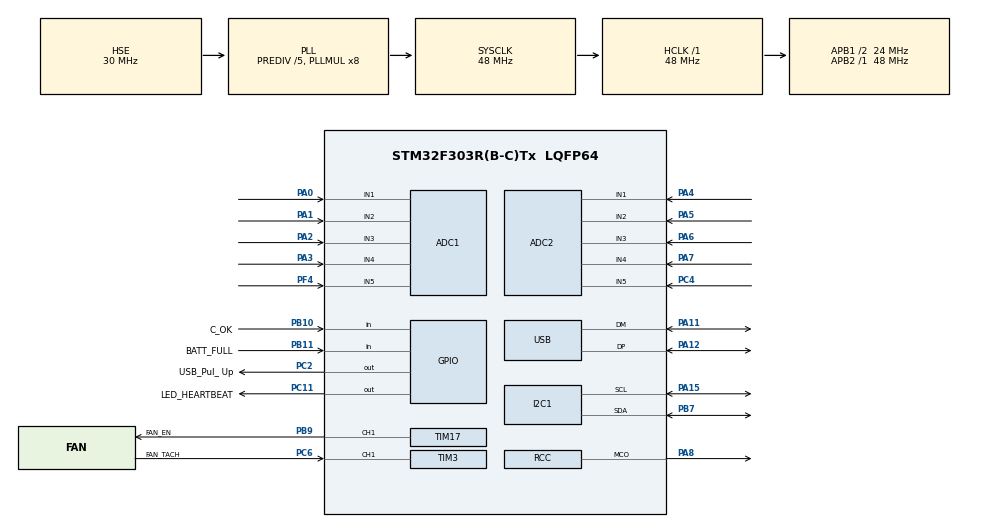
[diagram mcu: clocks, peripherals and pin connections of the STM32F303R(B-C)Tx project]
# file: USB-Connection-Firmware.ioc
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ADC1.Channel-0\#ChannelRegularConversion=ADC_CHANNEL_1
ADC1.Channel-5\#ChannelRegularConversion=ADC_CHANNEL_2
ADC1.Channel-6\#ChannelRegularConversion=ADC_CHANNEL_3
ADC1.Channel-7\#ChannelRegularConversion=ADC_CHANNEL_4
ADC1.Channel-8\#ChannelRegularConversion=ADC_CHANNEL_5
ADC1.ContinuousConvMode=ENABLE
ADC1.NbrOfConversion=5
ADC1.NbrOfConversionFlag=1
ADC1.Offset-0\#ChannelRegularConversion=0
ADC1.Offset-5\#ChannelRegularConversion=0
ADC1.Offset-6\#ChannelRegularConversion=0
ADC1.Offset-7\#ChannelRegularConversion=0
ADC1.Offset-8\#ChannelRegularConversion=0
ADC1.OffsetNumber-0\#ChannelRegularConversion=ADC_OFFSET_NONE
ADC1.OffsetNumber-5\#ChannelRegularConversion=ADC_OFFSET_NONE
ADC1.OffsetNumber-6\#ChannelRegularConversion=ADC_OFFSET_NONE
ADC1.OffsetNumber-7\#ChannelRegularConversion=ADC_OFFSET_NONE
ADC1.OffsetNumber-8\#ChannelRegularConversion=ADC_OFFSET_NONE
ADC1.Rank-0\#ChannelRegularConversion=1
ADC1.Rank-5\#ChannelRegularConversion=2
ADC1.Rank-6\#ChannelRegularConversion=3
ADC1.Rank-7\#ChannelRegularConversion=4
ADC1.Rank-8\#ChannelRegularConversion=5
ADC1.SamplingTime-0\#ChannelRegularConversion=ADC_SAMPLETIME_1CYCLE_5
ADC1.SamplingTime-5\#ChannelRegularConversion=ADC_SAMPLETIME_1CYCLE_5
ADC1.SamplingTime-6\#ChannelRegularConversion=ADC_SAMPLETIME_1CYCLE_5
ADC1.SamplingTime-7\#ChannelRegularConversion=ADC_SAMPLETIME_1CYCLE_5
ADC1.SamplingTime-8\#ChannelRegularConversion=ADC_SAMPLETIME_1CYCLE_5
ADC1.SamplingTimeOPAMP-5\#ChannelRegularConversion=ADC_SAMPLETIME_19CYCLES_5
ADC1.SamplingTimeOPAMP-6\#ChannelRegularConversion=ADC_SAMPLETIME_19CYCLES_5
ADC1.SamplingTimeOPAMP-7\#ChannelRegularConversion=ADC_SAMPLETIME_19CYCLES_5
ADC1.SamplingTimeOPAMP-8\#ChannelRegularConversion=ADC_SAMPLETIME_19CYCLES_5
ADC1.master=1
ADC2.Channel-0\#ChannelRegularConversion=ADC_CHANNEL_1
ADC2.Channel-1\#ChannelRegularConversion=ADC_CHANNEL_2
ADC2.Channel-2\#ChannelRegularConversion=ADC_CHANNEL_3
ADC2.Channel-3\#ChannelRegularConversion=ADC_CHANNEL_4
ADC2.Channel-4\#ChannelRegularConversion=ADC_CHANNEL_5
ADC2.ContinuousConvMode=ENABLE
ADC2.NbrOfConversion=5
ADC2.NbrOfConversionFlag=1
ADC2.Offset-0\#ChannelRegularConversion=0
ADC2.Offset-1\#ChannelRegularConversion=0
ADC2.Offset-2\#ChannelRegularConversion=0
ADC2.Offset-3\#ChannelRegularConversion=0
ADC2.Offset-4\#ChannelRegularConversion=0
ADC2.OffsetNumber-0\#ChannelRegularConversion=ADC_OFFSET_NONE
ADC2.OffsetNumber-1\#ChannelRegularConversion=ADC_OFFSET_NONE
ADC2.OffsetNumber-2\#ChannelRegularConversion=ADC_OFFSET_NONE
ADC2.OffsetNumber-3\#ChannelRegularConversion=ADC_OFFSET_NONE
ADC2.OffsetNumber-4\#ChannelRegularConversion=ADC_OFFSET_NONE
ADC2.Rank-0\#ChannelRegularConversion=1
ADC2.Rank-1\#ChannelRegularConversion=2
ADC2.Rank-2\#ChannelRegularConversion=3
ADC2.Rank-3\#ChannelRegularConversion=4
ADC2.Rank-4\#ChannelRegularConversion=5
ADC2.SamplingTime-0\#ChannelRegularConversion=ADC_SAMPLETIME_1CYCLE_5
ADC2.SamplingTime-1\#ChannelRegularConversion=ADC_SAMPLETIME_1CYCLE_5
ADC2.SamplingTime-2\#ChannelRegularConversion=ADC_SAMPLETIME_1CYCLE_5
ADC2.SamplingTime-3\#ChannelRegularConversion=ADC_SAMPLETIME_1CYCLE_5
ADC2.SamplingTime-4\#ChannelRegularConversion=ADC_SAMPLETIME_1CYCLE_5
ADC2.SamplingTimeOPAMP-1\#ChannelRegularConversion=ADC_SAMPLETIME_19CYCLES_5
ADC2.SamplingTimeOPAMP-2\#ChannelRegularConversion=ADC_SAMPLETIME_19CYCLES_5
ADC2.SamplingTimeOPAMP-3\#ChannelRegularConversion=ADC_SAMPLETIME_19CYCLES_5
ADC2.SamplingTimeOPAMP-4\#ChannelRegularConversion=ADC_SAMPLETIME_19CYCLES_5
Dma.ADC1.0.Direction=DMA_PERIPH_TO_MEMORY
Dma.ADC1.0.Instance=DMA1_Channel1
Dma.ADC1.0.MemDataAlignment=DMA_MDATAALIGN_HALFWORD
Dma.ADC1.0.MemInc=DMA_MINC_ENABLE
Dma.ADC1.0.Mode=DMA_CIRCULAR
Dma.ADC1.0.PeriphDataAlignment=DMA_PDATAALIGN_HALFWORD
Dma.ADC1.0.PeriphInc=DMA_PINC_DISABLE
Dma.ADC1.0.Priority=DMA_PRIORITY_LOW
Dma.ADC2.1.Direction=DMA_PERIPH_TO_MEMORY
Dma.ADC2.1.Instance=DMA2_Channel1
Dma.ADC2.1.MemDataAlignment=DMA_MDATAALIGN_HALFWORD
Dma.ADC2.1.MemInc=DMA_MINC_ENABLE
Dma.ADC2.1.Mode=DMA_CIRCULAR
Dma.ADC2.1.PeriphDataAlignment=DMA_PDATAALIGN_HALFWORD
Dma.ADC2.1.PeriphInc=DMA_PINC_DISABLE
Dma.ADC2.1.Priority=DMA_PRIORITY_LOW
Dma.Request0=ADC1
Dma.Request1=ADC2
I2C1.Timing=0x00201D2B
Mcu.Family=STM32F3
Mcu.Name=STM32F303R(B-C)Tx
Mcu.Package=LQFP64
NVIC.DMA1_Channel1_IRQn=true\:0\:0\:false\:false\:true\:false\:true\:true
NVIC.DMA2_Channel1_IRQn=true\:0\:0\:false\:false\:true\:false\:true\:true
NVIC.PriorityGroup=NVIC_PRIORITYGROUP_4
NVIC.TIM3_IRQn=true\:0\:0\:false\:false\:true\:true\:true\:true
NVIC.USB_HP_CAN_TX_IRQn=true\:0\:0\:false\:false\:true\:true\:true\:true
NVIC.USB_LP_CAN_RX0_IRQn=true\:0\:0\:false\:false\:true\:false\:true\:true
PA0.Mode=IN1-Single-Ended
PA0.Signal=ADC1_IN1
PA1.Mode=IN2-Single-Ended
PA1.Signal=ADC1_IN2
PA11.Mode=Device
PA11.Signal=USB_DM
PA12.Mode=Device
PA12.Signal=USB_DP
PA13.Mode=Serial_Wire
PA13.Signal=SYS_JTMS-SWDIO
PA14.Mode=Serial_Wire
PA14.Signal=SYS_JTCK-SWCLK
PA15.Mode=I2C
PA15.Signal=I2C1_SCL
PA2.Mode=IN3-Single-Ended
PA2.Signal=ADC1_IN3
PA3.Mode=IN4-Single-Ended
PA3.Signal=ADC1_IN4
PA4.Mode=IN1-Single-Ended
PA4.Signal=ADC2_IN1
PA5.Mode=IN2-Single-Ended
PA5.Signal=ADC2_IN2
PA6.Mode=IN3-Single-Ended
PA6.Signal=ADC2_IN3
PA7.Mode=IN4-Single-Ended
PA7.Signal=ADC2_IN4
PA8.Mode=Clock-out
PA8.Signal=RCC_MCO
PB10.GPIO_Label=C_OK
PB10.GPIO_PuPd=GPIO_NOPULL
PB10.Signal=GPIO_Input
PB11.GPIO_Label=BATT_FULL
PB11.Signal=GPIO_Input
PB7.Mode=I2C
PB7.Signal=I2C1_SDA
PB9.GPIO_Label=FAN_EN
PB9.Signal=S_TIM17_CH1
PC11.GPIO_Label=LED_HEARTBEAT
PC11.Signal=GPIO_Output
PC2.GPIO_Label=USB_Pul_ Up
PC2.Signal=GPIO_Output
PC4.Mode=IN5-Single-Ended
PC4.Signal=ADC2_IN5
PC6.GPIO_Label=FAN_TACH
PC6.Signal=S_TIM3_CH1
PF0-OSC_IN.Mode=HSE-External-Oscillator
PF0-OSC_IN.Signal=RCC_OSC_IN
PF1-OSC_OUT.Mode=HSE-External-Oscillator
PF1-OSC_OUT.Signal=RCC_OSC_OUT
PF4.Mode=IN5-Single-Ended
PF4.Signal=ADC1_IN5
ProjectManager.HeapSize=0x800
ProjectManager.StackSize=0x400
ProjectManager.TargetToolchain=STM32CubeIDE
RCC.AHBFreq_Value=48000000
RCC.APB1CLKDivider=RCC_HCLK_DIV2
RCC.APB1Freq_Value=24000000
RCC.APB1TimFreq_Value=48000000
RCC.APB2Freq_Value=48000000
RCC.APB2TimFreq_Value=48000000
RCC.CortexFreq_Value=48000000
RCC.HCLKFreq_Value=48000000
RCC.HSE_VALUE=30000000
RCC.HSI_VALUE=8000000
RCC.LSE_VALUE=32768
RCC.PLLMUL=RCC_PLL_MUL8
RCC.RCC_MCOSource=RCC_MCO1SOURCE_HSE
RCC.RCC_PLLsource_Clock_Source_FROM_HSE=RCC_HSE_PREDIV_DIV5
RCC.SYSCLKFreq_VALUE=48000000
RCC.SYSCLKSourceVirtual=RCC_SYSCLKSOURCE_PLLCLK
RCC.USBFreq_Value=48000000
SH.S_TIM17_CH1.0=TIM17_CH1,PWM Generation1 CH1
SH.S_TIM3_CH1.0=TIM3_CH1,Input_Capture1_from_TI1
TIM17.AutoReloadPreload=TIM_AUTORELOAD_PRELOAD_ENABLE
TIM17.Channel=TIM_CHANNEL_1
TIM17.Period=999
TIM17.Prescaler=47
TIM3.Channel-Input_Capture1_from_TI1=TIM_CHANNEL_1
TIM3.ICFilter_CH1=0x0F
TIM3.ICPolarity_CH1=TIM_INPUTCHANNELPOLARITY_FALLING
TIM3.Prescaler=47
USB_DEVICE.CLASS_NAME_FS=CDC
USB_DEVICE.VirtualMode=Cdc
USB_DEVICE.VirtualModeFS=Cdc_FS
VP_TIM17_VS_ClockSourceINT.Mode=Enable_Timer
VP_TIM3_VS_ClockSourceINT.Mode=Internal
VP_USB_DEVICE_VS_USB_DEVICE_CDC_FS.Mode=CDC_FS
board=custom

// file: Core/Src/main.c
/* USER CODE BEGIN Header */
/**
 ******************************************************************************
 * @file           : main.c
 * @brief          : DIAGNOSTIC Main program body
 * Features: Auto-Detect Address (0x08/0x18) AND Auto-Detect CRC requirement
 * PLUS: 10-Channel STM32 ADC Thermistor Reading with Temperature Conversion
 * PLUS: Current Sensing from BQ76930 with 20mOhm Shunt
 ******************************************************************************
 */
/* USER CODE END Header */
#include "main.h"
#include "usb_device.h"

/* USER CODE BEGIN Includes */
#include "usbd_cdc_if.h"
#include <math.h>
#include <stdio.h>
#include <stdlib.h>
#include <string.h>

/* USER CODE END Includes */

/* USER CODE BEGIN PD */
#define SYS_STAT 0x00
#define SYS_CTRL1 0x04
#define SYS_CTRL2 0x05
#define VC1_HI_BYTE 0x0C
#define CC_HI_BYTE 0x32 // Current measurement high byte
#define PROTECT1 0x06   // Overcurrent trip delay & threshold
#define PROTECT2 0x07   // Overcurrent trip delay & threshold
#define ADCGAIN1 0x50
#define ADCGAIN2 0x59
#define ADCOFFSET 0x51
#define OV_TRIP 0x09
#define UV_TRIP 0x0A
#define CELLBAL1 0x01
#define CELLBAL2 0x02
#define SYS_CTRL2_FETS_OFF 0xC0
#define SYS_CTRL2_CHARGE_ON 0xC1
#define SYS_CTRL2_DISCHARGE_ON 0xC2

#define EVENS1 0x0A
#define ODDS1 0x15
#define EVENS2 0x15
#define ODDS2 0x0A

#define BAL_ALT_PERIOD_MS 5000 // 5-second alternation period

// Current Shunt Parameters
#define SHUNT_RESISTOR 0.020f    // 20mOhm shunt resistor
#define BQ_CURRENT_LSB 0.000422f // (8.44µV / 0.020Ω) = 0.422mA per LSB

// NTC Thermistor Parameters (10k NTC with Beta = 3950)
#define NTC_R0 10000.0f       // Resistance at 25°C (Ohms)
#define NTC_T0 298.15f        // 25°C in Kelvin
#define NTC_BETA 3950.0f      // Beta coefficient
#define NTC_SERIES_R 10000.0f // Series resistor value (Ohms)
#define NTC_VCC 3.3f          // Supply voltage

// Fan Control Parameters
#define FAN_PWM_MAX 999             // TIM17 ARR value (0-999 = 0-100% duty)
#define FAN_TACH_TIMER_FREQ 1000000 // TIM3 tick rate: 48MHz / (47+1) = 1MHz
#define FAN_PULSES_PER_REV 2        // Most fans output 2 pulses per revolution
#define FAN_RPM_TIMEOUT_MS                                                     \
  2000                        // If no tach pulse for 2s, fan is stopped/stalled
#define FAN_RPM_AVG_SAMPLES 4 // Moving average window size
#define FAN_RPM_MAX 15000     // Max plausible RPM (reject noise above this)
#define FAN_RPM_RATED 2700    // Fan's maximum rated RPM at 100% duty
/* USER CODE END PD */

ADC_HandleTypeDef hadc1;
ADC_HandleTypeDef hadc2;
DMA_HandleTypeDef hdma_adc1;
DMA_HandleTypeDef hdma_adc2;

I2C_HandleTypeDef hi2c1;

TIM_HandleTypeDef htim3;
TIM_HandleTypeDef htim17;

/* USER CODE BEGIN PV */
char data_buffer[640];
uint8_t bms_addr = 0;
uint8_t use_crc = 0; // 0 = No CRC, 1 = Use CRC

// Fan Control Variables
volatile uint32_t fan_tach_capture_last = 0; // Previous capture value
volatile uint32_t fan_tach_period = 0;  // Period between falling edges (in µs)
volatile uint8_t fan_tach_new_data = 0; // Flag: new capture available
volatile uint32_t fan_tach_last_tick =
    0; // HAL_GetTick() at last capture (for timeout)
volatile uint16_t fan_tach_overflow_count =
    0;                 // Timer overflow count (for low-RPM measurement)
uint16_t fan_duty = 0; // Current PWM duty (0-999)
uint32_t fan_rpm = 0;  // Calculated RPM
uint32_t fan_rpm_buf[FAN_RPM_AVG_SAMPLES]; // Moving average buffer
uint8_t fan_rpm_idx = 0;    // Current index into averaging buffer
uint8_t fan_rpm_filled = 0; // 1 once buffer has been fully populated
uint8_t fan_auto_mode =
    1; // 1 = auto (temp-based), 0 = manual (dashboard controls)
uint8_t fan_manual_duty = 0; // Manual duty cycle set by dashboard (0-100%)

// Cell Balancing Variables
uint8_t bal_enabled = 0;          // 0 = off, 1 = on
uint16_t bal_threshold_mv = 15;   // delta threshold in mV
uint16_t bal_active_mask = 0;     // bitmask: bit 0=cell1 ... bit 9=cell10
#define BAL_MIN_CELL_MV 2850      // no balancing below 2.85V
#define BAL_MAX_TEMP_C 50.0f      // no balancing above 50C
uint8_t bal_alt_enabled = 0;      // 0 = off, 1 = alternating even/odd mode
uint8_t bal_alt_phase = 0;        // 0 = odd cells, 1 = even cells
uint32_t bal_alt_last_toggle = 0; // HAL_GetTick() of last phase switch

// FET Mode Variables
typedef enum {
  FET_MODE_DISCHARGE = 0,
  FET_MODE_CHARGE = 1,
  FET_MODE_OFF = 2,
} fet_mode_t;

uint8_t charge_mode = 0;        // 0 = discharge mode, 1 = charge mode
uint8_t fets_off_requested = 0; // 1 = explicit FET-off mode requested
uint8_t last_sys_ctrl2 =
    0xFF; // Cache the last SYS_CTRL2 value to avoid redundant writes
uint8_t thermal_shutdown = 0;    // 1 = FETs disabled due to overtemp
uint8_t charger_forced_off = 0;  // 1 = C_OK==0 forced FETs off
uint8_t battfull_forced_off = 0; // 1 = BATT_FULL==1 forced FETs off
uint8_t safety_fault_active = 0; // 1 = hardware fault (OV, UV, OC) active

// Charger Override Variables (GUI manual control)
uint8_t charger_override_mode =
    0; // 0 = auto (read PB10/PB11), 1 = manual (GUI override)
uint8_t charger_override_c_ok =
    1; // Manual override value for C_OK (1=OK, 0=fault)
uint8_t charger_override_batt_full =
    0; // Manual override value for BATT_FULL (0=charging, 1=full)
#define CHARGE_BAL_THRESHOLD 3.800f // balance cells above 3.8V during charging
#define THERMAL_CUTOFF_C 60.0f      // disable FETs above 60C
#define THERMAL_RESUME_C 55.0f      // re-enable FETs below 55C

// USB Command receive (from usbd_cdc_if.c)
extern volatile uint8_t cmd_ready[];
extern volatile uint8_t cmd_ready_flag;
/* USER CODE END PV */

void SystemClock_Config(void);
static void MX_GPIO_Init(void);
static void MX_DMA_Init(void);
static void MX_I2C1_Init(void);
static void MX_ADC1_Init(void);
static void MX_ADC2_Init(void);
static void MX_TIM3_Init(void);
static void MX_TIM17_Init(void);
/* USER CODE BEGIN PFP */
void Fan_SetSpeed(uint8_t percent);
uint32_t Fan_GetRPM(void);
void Process_USB_Command(const char *cmd);
static void Disable_Balancing_Output(void);
static void Set_SYS_CTRL2(uint8_t val);
static fet_mode_t Get_Requested_FET_Mode(void);
static fet_mode_t Get_Active_FET_Mode(void);
static uint8_t Charge_FET_Is_On(void);
static uint8_t Discharge_FET_Is_On(void);
static const char *FET_Mode_Name(fet_mode_t mode);
/* USER CODE END PFP */

/* USER CODE BEGIN 0 */

// --- ADC READING HELPER ---
// Configures a specific channel, takes a single reading, and returns the 12-bit
// value
uint32_t Read_ADC(ADC_HandleTypeDef *hadc, uint32_t channel) {
  ADC_ChannelConfTypeDef sConfig = {0};
  sConfig.Channel = channel;
  sConfig.Rank = ADC_REGULAR_RANK_1;
  sConfig.SingleDiff = ADC_SINGLE_ENDED;
  // Slower sampling time allows stable readings for high-impedance NTC
  // thermistors
  sConfig.SamplingTime = ADC_SAMPLETIME_601CYCLES_5;
  sConfig.OffsetNumber = ADC_OFFSET_NONE;
  sConfig.Offset = 0;

  // If it fails to configure, return a specific error code
  if (HAL_ADC_ConfigChannel(hadc, &sConfig) != HAL_OK)
    return 99999;

  HAL_ADC_Start(hadc);
  if (HAL_ADC_PollForConversion(hadc, 50) == HAL_OK) { // 50ms timeout
    uint32_t val = HAL_ADC_GetValue(hadc);
    HAL_ADC_Stop(hadc);
    return val;
  }
  HAL_ADC_Stop(hadc);
  // If it times out, return a specific error code
  return 88888;
}

// Converts ADC raw value to Voltage, handling our custom error codes
float convert_adc(uint32_t raw) {
  if (raw == 99999)
    return 99.9f; // Hardware Config Error
  if (raw == 88888)
    return 88.8f;              // Timeout Error
  return raw * 3.3f / 4095.0f; // Normal Voltage Conversion
}

// --- TEMPERATURE CONVERSION ---
// Converts voltage from NTC voltage divider to temperature in Celsius
float voltage_to_temperature(float voltage) {
  // Handle error codes
  if (voltage >= 99.0f)
    return 999.9f; // Error - sensor fault
  if (voltage >= 88.0f)
    return 888.8f; // Error - timeout

  // Avoid division by zero
  if (voltage <= 0.01f)
    return -273.0f; // Error - disconnected
  if (voltage >= (NTC_VCC - 0.01f))
    return -274.0f; // Error - shorted

  // Calculate NTC resistance from voltage divider
  // Vout = Vcc * (R_NTC / (R_series + R_NTC))
  // R_NTC = (Vout * R_series) / (Vcc - Vout)
  float r_ntc = (voltage * NTC_SERIES_R) / (NTC_VCC - voltage);

  // Simplified Beta equation: 1/T = 1/T0 + (1/Beta)*ln(R/R0)
  float steinhart = (1.0f / NTC_T0) + (1.0f / NTC_BETA) * logf(r_ntc / NTC_R0);
  float temp_kelvin = 1.0f / steinhart;
  float temp_celsius = temp_kelvin - 273.15f;

  return temp_celsius;
}

// --- CRC8 CALCULATION (Polynomial 0x07) ---
uint8_t CRC8(uint8_t *data, int len) {
  uint8_t crc = 0;
  for (int i = 0; i < len; i++) {
    crc ^= data[i];
    for (int j = 0; j < 8; j++) {
      if (crc & 0x80)
        crc = (crc << 1) ^ 0x07;
      else
        crc <<= 1;
    }
  }
  return crc;
}

// --- WRITE REGISTER (Handles CRC automatically) ---
void BQ_WriteReg(uint8_t reg, uint8_t data) {
  if (bms_addr == 0)
    return;

  if (use_crc) {
    uint8_t tx[4];
    tx[0] = bms_addr;
    tx[1] = reg;
    tx[2] = data;
    uint8_t crc_payload[3] = {bms_addr, reg, data};
    tx[3] = CRC8(crc_payload, 3);
    HAL_I2C_Master_Transmit(&hi2c1, bms_addr, &tx[1], 3, 100);
  } else {
    uint8_t tx[2] = {reg, data};
    HAL_I2C_Master_Transmit(&hi2c1, bms_addr, tx, 2, 100);
  }
}

// --- READ REGISTERS (Handles CRC automatically) ---
void BQ_ReadRegs(uint8_t reg, uint8_t *data, uint16_t count) {
  if (bms_addr == 0)
    return;

  if (use_crc) {
    uint8_t rx_buffer[128];
    HAL_I2C_Mem_Read(&hi2c1, bms_addr, reg, I2C_MEMADD_SIZE_8BIT, rx_buffer,
                     count * 2, 100);
    for (int i = 0; i < count; i++) {
      data[i] = rx_buffer[i * 2];
    }
  } else {
    HAL_I2C_Mem_Read(&hi2c1, bms_addr, reg, I2C_MEMADD_SIZE_8BIT, data, count,
                     100);
  }
}

// --- READ CURRENT FROM BQ76930 ---
float BQ_ReadCurrent(void) {
  if (bms_addr == 0)
    return 0.0f;

  uint8_t raw[2] = {0};
  BQ_ReadRegs(CC_HI_BYTE, raw, 2);

  // Combine high and low bytes (signed 16-bit)
  int16_t current_raw = (int16_t)((raw[0] << 8) | raw[1]);

  // Convert to Amperes using 20mOhm shunt
  // BQ76930: 8.44µV per LSB, Shunt: 20mOhm
  // Current = (8.44e-6 V) / (0.020 Ω) = 0.422mA per LSB
  float current_amps = current_raw * BQ_CURRENT_LSB;

  return current_amps;
}

static void Disable_Balancing_Output(void) {
  bal_active_mask = 0;
  BQ_WriteReg(CELLBAL1, 0x00);
  BQ_WriteReg(CELLBAL2, 0x00);
}

static void Set_SYS_CTRL2(uint8_t val) {
  BQ_WriteReg(SYS_CTRL2, val);
  last_sys_ctrl2 = val;
}

static fet_mode_t Get_Requested_FET_Mode(void) {
  if (fets_off_requested) {
    return FET_MODE_OFF;
  }
  return charge_mode ? FET_MODE_CHARGE : FET_MODE_DISCHARGE;
}

static fet_mode_t Get_Active_FET_Mode(void) {
  if (thermal_shutdown || safety_fault_active) {
    return FET_MODE_OFF;
  }
  if (charge_mode && (charger_forced_off || battfull_forced_off)) {
    return FET_MODE_OFF;
  }
  return Get_Requested_FET_Mode();
}

static uint8_t Charge_FET_Is_On(void) {
  return Get_Active_FET_Mode() == FET_MODE_CHARGE ? 1 : 0;
}

static uint8_t Discharge_FET_Is_On(void) {
  return Get_Active_FET_Mode() == FET_MODE_DISCHARGE ? 1 : 0;
}

static const char *FET_Mode_Name(fet_mode_t mode) {
  switch (mode) {
  case FET_MODE_CHARGE:
    return "charge";
  case FET_MODE_OFF:
    return "off";
  case FET_MODE_DISCHARGE:
  default:
    return "discharge";
  }
}

void BQ_Init(void) {
  if (bms_addr == 0)
    return;
  BQ_WriteReg(SYS_STAT, 0xFF);
  BQ_WriteReg(SYS_CTRL1, 0x10);
  last_sys_ctrl2 = 0xFF;             // force the next write
  Set_SYS_CTRL2(SYS_CTRL2_FETS_OFF); // 0x40 if you want to re-enable OV, UV,
                                     // OCD, & SCD delays
}

// --- CELL BALANCING ---
void BQ_UpdateBalance(float *cell_v, int cell_count, float max_temp) {
  bal_active_mask = 0;

  if (!bal_enabled) {
    BQ_WriteReg(CELLBAL1, 0x00);
    BQ_WriteReg(CELLBAL2, 0x00);
    return;
  }

  // Find minimum cell voltage
  float v_min = cell_v[0];
  for (int i = 1; i < cell_count; i++) {
    if (cell_v[i] < v_min)
      v_min = cell_v[i];
  }

  // Safety: abort if lowest cell below minimum or temperature too high
  float v_min_mv = v_min * 1000.0f;
  if (v_min_mv < (float)BAL_MIN_CELL_MV || max_temp > BAL_MAX_TEMP_C) {
    BQ_WriteReg(CELLBAL1, 0x00);
    BQ_WriteReg(CELLBAL2, 0x00);
    return;
  }

  float threshold_v = (float)bal_threshold_mv / 1000.0f;
  uint8_t cellbal1 = 0; // bits [4:0] for cells 1-5
  uint8_t cellbal2 = 0; // bits [4:0] for cells 6-10

  for (int i = 0; i < cell_count; i++) {
    if ((cell_v[i] - v_min) > threshold_v) {
      bal_active_mask |= (1 << i);
      if (i < 5) {
        cellbal1 |= (1 << i);
      } else {
        cellbal2 |= (1 << (i - 5));
      }
    }
  }

  BQ_WriteReg(CELLBAL1, cellbal1);
  BQ_WriteReg(CELLBAL2, cellbal2);
}

// --- SCANNER ---
void Discover_BMS(void) {
  HAL_StatusTypeDef res;

  res = HAL_I2C_IsDeviceReady(&hi2c1, 0x08 << 1, 2, 10);
  if (res == HAL_OK) {
    bms_addr = 0x08 << 1;
    use_crc = 0;
    return;
  }

  res = HAL_I2C_IsDeviceReady(&hi2c1, 0x18 << 1, 2, 10);
  if (res == HAL_OK) {
    bms_addr = 0x18 << 1;
    use_crc = 0;
    return;
  }
  bms_addr = 0;
}

/* USER CODE END 0 */

int main(void) {

  /* MCU Configuration--------------------------------------------------------*/

  /* Reset of all peripherals, Initializes the Flash interface and the Systick.
   */
  HAL_Init();

  /* Configure the system clock */
  SystemClock_Config();

  /* Initialize all configured peripherals */
  MX_GPIO_Init();
  MX_DMA_Init();
  MX_USB_DEVICE_Init();
  MX_I2C1_Init();
  MX_ADC1_Init();
  MX_ADC2_Init();
  MX_TIM3_Init();
  MX_TIM17_Init();
  /* USER CODE BEGIN 2 */

  // USB D+ pull-up on PC2 is now handled automatically by
  // HAL_PCDEx_SetConnectionState() in usbd_conf.c — called
  // by the USB stack during USBD_Start() inside MX_USB_DEVICE_Init().
  // Allow time for Windows to complete enumeration before proceeding.
  HAL_Delay(500);

  // --- Start Fan PWM (TIM17 CH1 on PB9) ---
  HAL_TIM_PWM_Start(&htim17, TIM_CHANNEL_1);
  __HAL_TIM_MOE_ENABLE(&htim17); // Force Main Output Enable for advanced timer
  Fan_SetSpeed(100);             // Fan at 100% for testing

  // --- Start Fan Tach Input Capture (TIM3 CH1 on PC6) ---
  // Re-configure PC6 with internal pull-up (tach is open-drain)
  {
    GPIO_InitTypeDef gpio = {0};
    gpio.Pin = GPIO_PIN_6;
    gpio.Mode = GPIO_MODE_AF_PP;
    gpio.Pull = GPIO_PULLUP;
    gpio.Speed = GPIO_SPEED_FREQ_LOW;
    gpio.Alternate = GPIO_AF2_TIM3;
    HAL_GPIO_Init(GPIOC, &gpio);
  }
  HAL_TIM_IC_Start_IT(&htim3, TIM_CHANNEL_1);
  __HAL_TIM_ENABLE_IT(
      &htim3, TIM_IT_UPDATE); // Enable overflow interrupt for low-RPM tracking
  fan_tach_last_tick = HAL_GetTick();

  // --- Configure PB4 as Output (Hardware Boot Pin) ---
  {
    GPIO_InitTypeDef gpio = {0};
    gpio.Pin = GPIO_PIN_4;
    gpio.Mode = GPIO_MODE_OUTPUT_PP;
    gpio.Pull = GPIO_NOPULL;
    gpio.Speed = GPIO_SPEED_FREQ_LOW;
    HAL_GPIO_Init(GPIOB, &gpio);
    HAL_GPIO_WritePin(GPIOB, GPIO_PIN_4, GPIO_PIN_RESET);
  }

  // Initial Scan
  Discover_BMS();

  if (bms_addr != 0) {
    BQ_Init();
    HAL_Delay(100);
  }

  /* USER CODE END 2 */

  /* Infinite loop */
  /* USER CODE BEGIN WHILE */
  while (1) {
    /* USER CODE BEGIN WHILE_LOOP_LOGIC */

    if (bms_addr == 0) {
      Discover_BMS();
      int len = snprintf(data_buffer, sizeof(data_buffer),
                         "SCANNING... (Press Boot Button)\r\n");
      CDC_Transmit_FS((uint8_t *)data_buffer, len);
      HAL_GPIO_TogglePin(GPIOC, GPIO_PIN_11);
      HAL_Delay(500);
      if (bms_addr != 0)
        BQ_Init();
      continue;
    }

    // --- 0. CHECK FOR USB COMMANDS FROM DASHBOARD ---
    if (cmd_ready_flag) {
      Process_USB_Command((const char *)cmd_ready);
      cmd_ready_flag = 0;
    }

    uint8_t faultStatus[1] = {0};
    BQ_ReadRegs(SYS_STAT, faultStatus, 1);
    safety_fault_active = (faultStatus[0] & 0x3F) ? 1 : 0;

    uint8_t loadPresent[1] = {0};
    BQ_ReadRegs(SYS_CTRL1, loadPresent, 1);
    loadPresent[0] = loadPresent[0] & 0x80;

    // --- -1. SET OVERVOLTAGE & UNDERVOLTAGE TRIP TRESHOLDS ---
    BQ_WriteReg(OV_TRIP, 0x6D); // 3.8V is 0x6D Set to 4V (0x8E) see p. 22 in ds
    BQ_WriteReg(UV_TRIP, 0xB9); // Set to 2.7V

    // --- 0. SET OVERCURRENT TRIP DELAY & THRESHOLD ---
    BQ_WriteReg(PROTECT1, 0x87); // 8 ms delay & 17mV across shunt
    BQ_WriteReg(PROTECT2, 0x0F); // 8 ms delay & 17mV across shunt

    // --- 0.5 FET CONTROL (moved after temp reads for thermal safety) ---

    // --- 1. READ BMS CELL VOLTAGES ---
    uint8_t raw[20] = {0};
    BQ_ReadRegs(VC1_HI_BYTE, raw, 20);

    float v[10];
    for (int i = 0; i < 10; i++) {
      int16_t adc = (int16_t)((raw[i * 2] << 8) | raw[i * 2 + 1]) & 0x3FFF;
      v[i] = adc * 382.0f / 1000000.0f;
    }

    // --- 2. READ CURRENT FROM BQ76930 ---
    float current = (BQ_ReadCurrent() * -1) + 0.043f;

    // CRC detection: only switch if ALL cells read zero
    {
      uint8_t all_zero = 1;
      for (int i = 0; i < 10; i++) {
        if (v[i] > 0.1f) {
          all_zero = 0;
          break;
        }
      }
      if (all_zero) {
        if (use_crc == 0) {
          use_crc = 1;
          BQ_Init();
        } else {
          int len = snprintf(
              data_buffer, sizeof(data_buffer),
              "ADDR: 0x%02X (CRC ON) | V=0.000 (Check Voltages)\r\n", bms_addr);
          CDC_Transmit_FS((uint8_t *)data_buffer, len);
        }
        HAL_GPIO_TogglePin(GPIOC, GPIO_PIN_11);
        HAL_Delay(500);
        continue;
      }
    }

    // --- 3. READ STM32 THERMISTORS & CONVERT TO TEMPERATURE ---
    float t_voltage[10];
    float t_celsius[10];

    t_voltage[0] =
        convert_adc(Read_ADC(&hadc1, ADC_CHANNEL_1)); // PA0 (ADC1 IN1)
    t_voltage[1] =
        convert_adc(Read_ADC(&hadc1, ADC_CHANNEL_2)); // PA1 (ADC1 IN2)
    t_voltage[2] =
        convert_adc(Read_ADC(&hadc1, ADC_CHANNEL_3)); // PA2 (ADC1 IN3)
    t_voltage[3] =
        convert_adc(Read_ADC(&hadc1, ADC_CHANNEL_4)); // PA3 (ADC1 IN4)
    t_voltage[4] =
        convert_adc(Read_ADC(&hadc1, ADC_CHANNEL_5)); // PF4 (ADC1 IN5)
    t_voltage[5] =
        convert_adc(Read_ADC(&hadc2, ADC_CHANNEL_1)); // PA4 (ADC2 IN1)
    t_voltage[6] =
        convert_adc(Read_ADC(&hadc2, ADC_CHANNEL_2)); // PA5 (ADC2 IN2)
    t_voltage[7] =
        convert_adc(Read_ADC(&hadc2, ADC_CHANNEL_3)); // PA6 (ADC2 IN3)
    t_voltage[8] =
        convert_adc(Read_ADC(&hadc2, ADC_CHANNEL_4)); // PA7 (ADC2 IN4)
    t_voltage[9] =
        convert_adc(Read_ADC(&hadc2, ADC_CHANNEL_5)); // PC4 (ADC2 IN5)

    // Convert voltages to temperatures
    for (int i = 0; i < 10; i++) {
      t_celsius[i] = voltage_to_temperature(t_voltage[i]);
    }

    // --- 3.5 CHARGER / BATTERY-FULL SAFETY CHECKS ---
    {
      if (charger_override_mode == 0) {
        // AUTO mode: read from PB10/PB11 GPIOs
        uint8_t c_ok_raw = HAL_GPIO_ReadPin(C_OK_GPIO_Port, C_OK_Pin);
        uint8_t batt_full_raw =
            HAL_GPIO_ReadPin(BATT_FULL_GPIO_Port, BATT_FULL_Pin);

        charger_forced_off = (c_ok_raw == GPIO_PIN_SET)
                                 ? 1
                                 : 0; // C_OK HIGH → charger fault (0 means ON)
        battfull_forced_off =
            (batt_full_raw == GPIO_PIN_RESET)
                ? 1
                : 0; // BATT_FULL LOW → full (1 means NOT full yet)
      } else {
        // MANUAL mode: use GUI override values
        charger_forced_off =
            charger_override_c_ok ? 0 : 1; // c_ok=1 → no fault, c_ok=0 → fault
        battfull_forced_off =
            charger_override_batt_full; // 1 → full, 0 → charging
      }
    }

    // --- 3.6 THERMAL SAFETY & FET CONTROL ---
    {
      // Find max valid temperature
      float max_valid_temp = -300.0f;
      for (int i = 0; i < 10; i++) {
        if (t_celsius[i] > -100.0f && t_celsius[i] < 200.0f &&
            t_celsius[i] > max_valid_temp) {
          max_valid_temp = t_celsius[i];
        }
      }

      if (max_valid_temp > THERMAL_CUTOFF_C) {
        // OVERTEMP: disable both FETs immediately
        thermal_shutdown = 1;
        Set_SYS_CTRL2(SYS_CTRL2_FETS_OFF);
        Disable_Balancing_Output();
      } else if (thermal_shutdown && max_valid_temp < THERMAL_RESUME_C &&
                 max_valid_temp > -100.0f) {
        // Temp dropped below resume threshold — clear shutdown
        thermal_shutdown = 0;
      }

      if (thermal_shutdown || fets_off_requested || safety_fault_active) {
        Set_SYS_CTRL2(SYS_CTRL2_FETS_OFF); // both FETs explicitly off
      } else if (charge_mode) {
        if (charger_forced_off || battfull_forced_off) {
          Set_SYS_CTRL2(SYS_CTRL2_FETS_OFF); // Safety faults turn off relay
        } else {
          Set_SYS_CTRL2(
              SYS_CTRL2_DISCHARGE_ON); // Relay is wired to Discharge FET pin,
                                       // so turn it ON during charge
        }
      } else {
        Set_SYS_CTRL2(SYS_CTRL2_DISCHARGE_ON); // discharge ON (relay on),
                                               // ignores charger state
      }
    }

    // --- 3.7 CELL BALANCING ---
    static uint32_t last_balance_eval = 0;
    if ((HAL_GetTick() - last_balance_eval) >= 5000) {
      last_balance_eval = HAL_GetTick();

      bal_active_mask = 0;
      if (thermal_shutdown) {
        // No balancing during thermal shutdown
        Disable_Balancing_Output();
      } else if (Get_Active_FET_Mode() == FET_MODE_CHARGE &&
                 (!bal_enabled || !bal_alt_enabled)) {
        // CHARGE MODE: balance cells above 3.8V with smart even/odd alternation
        uint8_t cellbal1 = 0, cellbal2 = 0;
        uint16_t need_bal = 0; // bitmask of cells needing balance
        for (int i = 0; i < 10; i++) {
          if (v[i] > CHARGE_BAL_THRESHOLD) {
            need_bal |= (1 << i);
            if (i < 5)
              cellbal1 |= (1 << i);
            else
              cellbal2 |= (1 << (i - 5));
          }
        }

        if (need_bal == 0) {
          // No cells above 3.8V — nothing to balance
          Disable_Balancing_Output();
        } else {
          // Check if we have both even and odd cells needing balance
          uint8_t has_odd = (need_bal & 0x0155) ? 1 : 0;  // bits 0,2,4,6,8
          uint8_t has_even = (need_bal & 0x02AA) ? 1 : 0; // bits 1,3,5,7,9

          if (has_odd && has_even) {
            // Mixed: alternate every 5 seconds
            if ((HAL_GetTick() - bal_alt_last_toggle) >= BAL_ALT_PERIOD_MS) {
              bal_alt_phase ^= 1;
              bal_alt_last_toggle = HAL_GetTick();
            }
            if (bal_alt_phase == 0) {
              cellbal1 &= ODDS1;
              cellbal2 &= ODDS2;
            } else {
              cellbal1 &= EVENS1;
              cellbal2 &= EVENS2;
            }
          } else if (has_odd && !has_even) {
            // Only odd — balance directly, but prep phase for when evens appear
            cellbal1 &= ODDS1;
            cellbal2 &= ODDS2;
            bal_alt_phase = 1; // next mixed transition starts with evens
            bal_alt_last_toggle = HAL_GetTick();
          } else {
            // Only even — balance directly
            cellbal1 &= EVENS1;
            cellbal2 &= EVENS2;
            bal_alt_phase = 0; // next mixed transition starts with odds
            bal_alt_last_toggle = HAL_GetTick();
          }

          // Update active mask
          bal_active_mask = 0;
          for (int i = 0; i < 5; i++) {
            if (cellbal1 & (1 << i))
              bal_active_mask |= (1 << i);
            if (cellbal2 & (1 << i))
              bal_active_mask |= (1 << (i + 5));
          }

          BQ_WriteReg(CELLBAL1, cellbal1);
          BQ_WriteReg(CELLBAL2, cellbal2);
        }
      } else if (bal_enabled && bal_alt_enabled) {
        // BALANCE CELLS MODE: threshold + alternating even/odd
        if ((HAL_GetTick() - bal_alt_last_toggle) >= BAL_ALT_PERIOD_MS) {
          bal_alt_phase ^= 1;
          bal_alt_last_toggle = HAL_GetTick();
        }

        float v_min = 99.0f;
        for (int i = 0; i < 10; i++) {
          if (v[i] > 0.5f && v[i] < v_min)
            v_min = v[i];
        }

        float threshold_v = (float)bal_threshold_mv / 1000.0f;
        uint8_t cellbal1 = 0, cellbal2 = 0;
        if (v_min < 98.0f) {
          for (int i = 0; i < 10; i++) {
            if (v[i] < 0.5f)
              continue;
            if ((v[i] - v_min) > threshold_v) {
              if (i < 5)
                cellbal1 |= (1 << i);
              else
                cellbal2 |= (1 << (i - 5));
            }
          }
        }

        if (bal_alt_phase == 0) {
          cellbal1 &= ODDS1;
          cellbal2 &= ODDS2;
        } else {
          cellbal1 &= EVENS1;
          cellbal2 &= EVENS2;
        }

        bal_active_mask = 0;
        for (int i = 0; i < 5; i++) {
          if (cellbal1 & (1 << i))
            bal_active_mask |= (1 << i);
          if (cellbal2 & (1 << i))
            bal_active_mask |= (1 << (i + 5));
        }

        BQ_WriteReg(CELLBAL1, cellbal1);
        BQ_WriteReg(CELLBAL2, cellbal2);
      } else {
        Disable_Balancing_Output();
      }
    }

    // --- 4. FAN CONTROL (Auto or Manual) ---
    uint8_t effective_duty;
    if (fan_auto_mode) {
      // Find MAX temperature across all 10 NTCs
      float max_temp = t_celsius[0];
      for (int i = 1; i < 10; i++) {
        if (t_celsius[i] > max_temp)
          max_temp = t_celsius[i];
      }

      // Temperature -> Duty mapping:
      //   <= 25C  -> 0% (fan off, cells are cool)
      //   25-45C  -> linear ramp 20%-100%
      //   >= 45C  -> 100% (full blast)
      if (max_temp <= 25.0f) {
        effective_duty = 0;
      } else if (max_temp >= 45.0f) {
        effective_duty = 100;
      } else {
        effective_duty = (uint8_t)(20 + (max_temp - 25.0f) * 80.0f / 20.0f);
      }
    } else {
      // Manual mode: use duty set by dashboard
      effective_duty = fan_manual_duty;
    }
    Fan_SetSpeed(effective_duty);

    // Read real tach RPM; fall back to estimated RPM if tach times out
    fan_rpm = Fan_GetRPM();
    if (fan_rpm == 0 && effective_duty > 0) {
      fan_rpm = (uint32_t)effective_duty * FAN_RPM_RATED / 100;
    }

    // --- 5. SEND HUMAN-READABLE OUTPUT ---
    int len = snprintf(
        data_buffer, sizeof(data_buffer),
        "Voltages ->  C1: %.3f,  C2: %.3f,  C3: %.3f,  C4: %.3f,  C5: %.3f,  "
        "C6: %.3f,  C7: %.3f,  C8: %.3f,  C9: %.3f,  C10: %.3f\r\n"
        "Temperatures -> T1: %.1f,  T2: %.1f,  T3: %.1f,  T4: %.1f,  T5: %.1f, "
        " T6: %.1f,  T7: %.1f,  T8: %.1f,  T9: %.1f,  T10: %.1f\r\n"
        "Current ->  %.3f A\r\n"
        "Fan ->  %lu RPM\r\n"
        "fan_auto:%d fan_duty:%d\r\n"
        "SYS_STAT:%x Load Present:%x\r\n"
        "fet_mode:%s charge_fet:%d discharge_fet:%d thermal_shutdown:%d\r\n"
        "charger_ok:%d batt_full:%d charger_forced_off:%d "
        "battfull_forced_off:%d\r\n"
        "bal_en:%d bal_thresh:%d bal_mask:%d bal_alt:%d charge:%d\r\n\r\n",
        v[0], v[1], v[2], v[3], v[4], v[5], v[6], v[7], v[8], v[9],
        t_celsius[0], t_celsius[1], t_celsius[2], t_celsius[3], t_celsius[4],
        t_celsius[5], t_celsius[6], t_celsius[7], t_celsius[8], t_celsius[9],
        current, fan_rpm, fan_auto_mode, (int)effective_duty, faultStatus[0],
        loadPresent[0], FET_Mode_Name(Get_Active_FET_Mode()),
        (int)Charge_FET_Is_On(), (int)Discharge_FET_Is_On(),
        (int)thermal_shutdown, (int)(!charger_forced_off),
        (int)battfull_forced_off, (int)charger_forced_off,
        (int)battfull_forced_off, (int)bal_enabled, (int)bal_threshold_mv,
        (int)bal_active_mask, (int)bal_alt_enabled,
        (int)(Get_Active_FET_Mode() == FET_MODE_CHARGE));
    CDC_Transmit_FS((uint8_t *)data_buffer, len);

    HAL_GPIO_TogglePin(GPIOC, GPIO_PIN_11);

    // Wait ~500ms for next telemetry cycle, but check for USB commands every
    // 10ms
    {
      uint32_t wait_start = HAL_GetTick();
      while ((HAL_GetTick() - wait_start) < 500) {
        if (cmd_ready_flag) {
          Process_USB_Command((const char *)cmd_ready);
          cmd_ready_flag = 0;
        }
        HAL_Delay(10);
      }
    }

    /* USER CODE END WHILE_LOOP_LOGIC */
    /* USER CODE END WHILE */

  }
}

void SystemClock_Config(void) {
  RCC_OscInitTypeDef RCC_OscInitStruct = {0};
  RCC_ClkInitTypeDef RCC_ClkInitStruct = {0};
  RCC_PeriphCLKInitTypeDef PeriphClkInit = {0};

  /** Initializes the RCC Oscillators according to the specified parameters
   * in the RCC_OscInitTypeDef structure.
   */
  RCC_OscInitStruct.OscillatorType =
      RCC_OSCILLATORTYPE_HSI | RCC_OSCILLATORTYPE_HSE;
  RCC_OscInitStruct.HSEState = RCC_HSE_ON;
  RCC_OscInitStruct.HSEPredivValue = RCC_HSE_PREDIV_DIV5;
  RCC_OscInitStruct.HSIState = RCC_HSI_ON;
  RCC_OscInitStruct.HSICalibrationValue = RCC_HSICALIBRATION_DEFAULT;
  RCC_OscInitStruct.PLL.PLLState = RCC_PLL_ON;
  RCC_OscInitStruct.PLL.PLLSource = RCC_PLLSOURCE_HSE;
  RCC_OscInitStruct.PLL.PLLMUL = RCC_PLL_MUL8;
  if (HAL_RCC_OscConfig(&RCC_OscInitStruct) != HAL_OK) {
    Error_Handler();
  }

  /** Initializes the CPU, AHB and APB buses clocks
   */
  RCC_ClkInitStruct.ClockType = RCC_CLOCKTYPE_HCLK | RCC_CLOCKTYPE_SYSCLK |
                                RCC_CLOCKTYPE_PCLK1 | RCC_CLOCKTYPE_PCLK2;
  RCC_ClkInitStruct.SYSCLKSource = RCC_SYSCLKSOURCE_PLLCLK;
  RCC_ClkInitStruct.AHBCLKDivider = RCC_SYSCLK_DIV1;
  RCC_ClkInitStruct.APB1CLKDivider = RCC_HCLK_DIV2;
  RCC_ClkInitStruct.APB2CLKDivider = RCC_HCLK_DIV1;

  if (HAL_RCC_ClockConfig(&RCC_ClkInitStruct, FLASH_LATENCY_1) != HAL_OK) {
    Error_Handler();
  }
  PeriphClkInit.PeriphClockSelection =
      RCC_PERIPHCLK_USB | RCC_PERIPHCLK_I2C1 | RCC_PERIPHCLK_ADC12;
  PeriphClkInit.Adc12ClockSelection = RCC_ADC12PLLCLK_DIV1;
  PeriphClkInit.I2c1ClockSelection = RCC_I2C1CLKSOURCE_HSI;
  PeriphClkInit.USBClockSelection = RCC_USBCLKSOURCE_PLL;
  if (HAL_RCCEx_PeriphCLKConfig(&PeriphClkInit) != HAL_OK) {
    Error_Handler();
  }
  HAL_RCC_MCOConfig(RCC_MCO, RCC_MCO1SOURCE_HSE, RCC_MCODIV_1);
}

static void MX_ADC1_Init(void) {

  ADC_MultiModeTypeDef multimode = {0};
  ADC_ChannelConfTypeDef sConfig = {0};

  /** Common config
   */
  hadc1.Instance = ADC1;
  hadc1.Init.ClockPrescaler = ADC_CLOCK_ASYNC_DIV1;
  hadc1.Init.Resolution = ADC_RESOLUTION_12B;
  hadc1.Init.ScanConvMode = ADC_SCAN_ENABLE;
  hadc1.Init.ContinuousConvMode = ENABLE;
  hadc1.Init.DiscontinuousConvMode = DISABLE;
  hadc1.Init.ExternalTrigConvEdge = ADC_EXTERNALTRIGCONVEDGE_NONE;
  hadc1.Init.ExternalTrigConv = ADC_SOFTWARE_START;
  hadc1.Init.DataAlign = ADC_DATAALIGN_RIGHT;
  hadc1.Init.NbrOfConversion = 5;
  hadc1.Init.DMAContinuousRequests = DISABLE;
  hadc1.Init.EOCSelection = ADC_EOC_SINGLE_CONV;
  hadc1.Init.LowPowerAutoWait = DISABLE;
  hadc1.Init.Overrun = ADC_OVR_DATA_OVERWRITTEN;
  if (HAL_ADC_Init(&hadc1) != HAL_OK) {
    Error_Handler();
  }

  /** Configure the ADC multi-mode
   */
  multimode.Mode = ADC_MODE_INDEPENDENT;
  if (HAL_ADCEx_MultiModeConfigChannel(&hadc1, &multimode) != HAL_OK) {
    Error_Handler();
  }

  /** Configure Regular Channel
   */
  sConfig.Channel = ADC_CHANNEL_1;
  sConfig.Rank = ADC_REGULAR_RANK_1;
  sConfig.SingleDiff = ADC_SINGLE_ENDED;
  sConfig.SamplingTime = ADC_SAMPLETIME_1CYCLE_5;
  sConfig.OffsetNumber = ADC_OFFSET_NONE;
  sConfig.Offset = 0;
  if (HAL_ADC_ConfigChannel(&hadc1, &sConfig) != HAL_OK) {
    Error_Handler();
  }

  /** Configure Regular Channel
   */
  sConfig.Channel = ADC_CHANNEL_2;
  sConfig.Rank = ADC_REGULAR_RANK_2;
  if (HAL_ADC_ConfigChannel(&hadc1, &sConfig) != HAL_OK) {
    Error_Handler();
  }

  /** Configure Regular Channel
   */
  sConfig.Channel = ADC_CHANNEL_3;
  sConfig.Rank = ADC_REGULAR_RANK_3;
  if (HAL_ADC_ConfigChannel(&hadc1, &sConfig) != HAL_OK) {
    Error_Handler();
  }

  /** Configure Regular Channel
   */
  sConfig.Channel = ADC_CHANNEL_4;
  sConfig.Rank = ADC_REGULAR_RANK_4;
  if (HAL_ADC_ConfigChannel(&hadc1, &sConfig) != HAL_OK) {
    Error_Handler();
  }

  /** Configure Regular Channel
   */
  sConfig.Channel = ADC_CHANNEL_5;
  sConfig.Rank = ADC_REGULAR_RANK_5;
  if (HAL_ADC_ConfigChannel(&hadc1, &sConfig) != HAL_OK) {
    Error_Handler();
  }
}

static void MX_ADC2_Init(void) {

  ADC_ChannelConfTypeDef sConfig = {0};

  /** Common config
   */
  hadc2.Instance = ADC2;
  hadc2.Init.ClockPrescaler = ADC_CLOCK_ASYNC_DIV1;
  hadc2.Init.Resolution = ADC_RESOLUTION_12B;
  hadc2.Init.ScanConvMode = ADC_SCAN_ENABLE;
  hadc2.Init.ContinuousConvMode = ENABLE;
  hadc2.Init.DiscontinuousConvMode = DISABLE;
  hadc2.Init.ExternalTrigConvEdge = ADC_EXTERNALTRIGCONVEDGE_NONE;
  hadc2.Init.ExternalTrigConv = ADC_SOFTWARE_START;
  hadc2.Init.DataAlign = ADC_DATAALIGN_RIGHT;
  hadc2.Init.NbrOfConversion = 5;
  hadc2.Init.DMAContinuousRequests = DISABLE;
  hadc2.Init.EOCSelection = ADC_EOC_SINGLE_CONV;
  hadc2.Init.LowPowerAutoWait = DISABLE;
  hadc2.Init.Overrun = ADC_OVR_DATA_OVERWRITTEN;
  if (HAL_ADC_Init(&hadc2) != HAL_OK) {
    Error_Handler();
  }

  /** Configure Regular Channel
   */
  sConfig.Channel = ADC_CHANNEL_1;
  sConfig.Rank = ADC_REGULAR_RANK_1;
  sConfig.SingleDiff = ADC_SINGLE_ENDED;
  sConfig.SamplingTime = ADC_SAMPLETIME_1CYCLE_5;
  sConfig.OffsetNumber = ADC_OFFSET_NONE;
  sConfig.Offset = 0;
  if (HAL_ADC_ConfigChannel(&hadc2, &sConfig) != HAL_OK) {
    Error_Handler();
  }

  /** Configure Regular Channel
   */
  sConfig.Channel = ADC_CHANNEL_2;
  sConfig.Rank = ADC_REGULAR_RANK_2;
  if (HAL_ADC_ConfigChannel(&hadc2, &sConfig) != HAL_OK) {
    Error_Handler();
  }

  /** Configure Regular Channel
   */
  sConfig.Channel = ADC_CHANNEL_3;
  sConfig.Rank = ADC_REGULAR_RANK_3;
  if (HAL_ADC_ConfigChannel(&hadc2, &sConfig) != HAL_OK) {
    Error_Handler();
  }

  /** Configure Regular Channel
   */
  sConfig.Channel = ADC_CHANNEL_4;
  sConfig.Rank = ADC_REGULAR_RANK_4;
  if (HAL_ADC_ConfigChannel(&hadc2, &sConfig) != HAL_OK) {
    Error_Handler();
  }

  /** Configure Regular Channel
   */
  sConfig.Channel = ADC_CHANNEL_5;
  sConfig.Rank = ADC_REGULAR_RANK_5;
  if (HAL_ADC_ConfigChannel(&hadc2, &sConfig) != HAL_OK) {
    Error_Handler();
  }
}

static void MX_I2C1_Init(void) {

  hi2c1.Instance = I2C1;
  hi2c1.Init.Timing = 0x00201D2B;
  hi2c1.Init.OwnAddress1 = 0;
  hi2c1.Init.AddressingMode = I2C_ADDRESSINGMODE_7BIT;
  hi2c1.Init.DualAddressMode = I2C_DUALADDRESS_DISABLE;
  hi2c1.Init.OwnAddress2 = 0;
  hi2c1.Init.OwnAddress2Masks = I2C_OA2_NOMASK;
  hi2c1.Init.GeneralCallMode = I2C_GENERALCALL_DISABLE;
  hi2c1.Init.NoStretchMode = I2C_NOSTRETCH_DISABLE;
  if (HAL_I2C_Init(&hi2c1) != HAL_OK) {
    Error_Handler();
  }

  /** Configure Analogue filter
   */
  if (HAL_I2CEx_ConfigAnalogFilter(&hi2c1, I2C_ANALOGFILTER_ENABLE) != HAL_OK) {
    Error_Handler();
  }

  /** Configure Digital filter
   */
  if (HAL_I2CEx_ConfigDigitalFilter(&hi2c1, 0) != HAL_OK) {
    Error_Handler();
  }
}

static void MX_TIM3_Init(void) {

  TIM_ClockConfigTypeDef sClockSourceConfig = {0};
  TIM_MasterConfigTypeDef sMasterConfig = {0};
  TIM_IC_InitTypeDef sConfigIC = {0};

  htim3.Instance = TIM3;
  htim3.Init.Prescaler = 47;
  htim3.Init.CounterMode = TIM_COUNTERMODE_UP;
  htim3.Init.Period = 65535;
  htim3.Init.ClockDivision = TIM_CLOCKDIVISION_DIV1;
  htim3.Init.AutoReloadPreload = TIM_AUTORELOAD_PRELOAD_DISABLE;
  if (HAL_TIM_Base_Init(&htim3) != HAL_OK) {
    Error_Handler();
  }
  sClockSourceConfig.ClockSource = TIM_CLOCKSOURCE_INTERNAL;
  if (HAL_TIM_ConfigClockSource(&htim3, &sClockSourceConfig) != HAL_OK) {
    Error_Handler();
  }
  if (HAL_TIM_IC_Init(&htim3) != HAL_OK) {
    Error_Handler();
  }
  sMasterConfig.MasterOutputTrigger = TIM_TRGO_RESET;
  sMasterConfig.MasterSlaveMode = TIM_MASTERSLAVEMODE_DISABLE;
  if (HAL_TIMEx_MasterConfigSynchronization(&htim3, &sMasterConfig) != HAL_OK) {
    Error_Handler();
  }
  sConfigIC.ICPolarity = TIM_INPUTCHANNELPOLARITY_FALLING;
  sConfigIC.ICSelection = TIM_ICSELECTION_DIRECTTI;
  sConfigIC.ICPrescaler = TIM_ICPSC_DIV1;
  sConfigIC.ICFilter = 0x0F;
  if (HAL_TIM_IC_ConfigChannel(&htim3, &sConfigIC, TIM_CHANNEL_1) != HAL_OK) {
    Error_Handler();
  }
}

static void MX_TIM17_Init(void) {

  TIM_OC_InitTypeDef sConfigOC = {0};
  TIM_BreakDeadTimeConfigTypeDef sBreakDeadTimeConfig = {0};

  htim17.Instance = TIM17;
  htim17.Init.Prescaler = 47;
  htim17.Init.CounterMode = TIM_COUNTERMODE_UP;
  htim17.Init.Period = 999;
  htim17.Init.ClockDivision = TIM_CLOCKDIVISION_DIV1;
  htim17.Init.RepetitionCounter = 0;
  htim17.Init.AutoReloadPreload = TIM_AUTORELOAD_PRELOAD_ENABLE;
  if (HAL_TIM_Base_Init(&htim17) != HAL_OK) {
    Error_Handler();
  }
  if (HAL_TIM_PWM_Init(&htim17) != HAL_OK) {
    Error_Handler();
  }
  sConfigOC.OCMode = TIM_OCMODE_PWM1;
  sConfigOC.Pulse = 0;
  sConfigOC.OCPolarity = TIM_OCPOLARITY_HIGH;
  sConfigOC.OCNPolarity = TIM_OCNPOLARITY_HIGH;
  sConfigOC.OCFastMode = TIM_OCFAST_DISABLE;
  sConfigOC.OCIdleState = TIM_OCIDLESTATE_RESET;
  sConfigOC.OCNIdleState = TIM_OCNIDLESTATE_RESET;
  if (HAL_TIM_PWM_ConfigChannel(&htim17, &sConfigOC, TIM_CHANNEL_1) != HAL_OK) {
    Error_Handler();
  }
  sBreakDeadTimeConfig.OffStateRunMode = TIM_OSSR_DISABLE;
  sBreakDeadTimeConfig.OffStateIDLEMode = TIM_OSSI_DISABLE;
  sBreakDeadTimeConfig.LockLevel = TIM_LOCKLEVEL_OFF;
  sBreakDeadTimeConfig.DeadTime = 0;
  sBreakDeadTimeConfig.BreakState = TIM_BREAK_DISABLE;
  sBreakDeadTimeConfig.BreakPolarity = TIM_BREAKPOLARITY_HIGH;
  sBreakDeadTimeConfig.BreakFilter = 0;
  sBreakDeadTimeConfig.AutomaticOutput = TIM_AUTOMATICOUTPUT_DISABLE;
  if (HAL_TIMEx_ConfigBreakDeadTime(&htim17, &sBreakDeadTimeConfig) != HAL_OK) {
    Error_Handler();
  }
  HAL_TIM_MspPostInit(&htim17);
}

static void MX_DMA_Init(void) {

  /* DMA controller clock enable */
  __HAL_RCC_DMA1_CLK_ENABLE();
  __HAL_RCC_DMA2_CLK_ENABLE();

  /* DMA interrupt init — lower priority than USB (which is 0,0) */
  /* DMA1_Channel1_IRQn interrupt configuration */
  HAL_NVIC_SetPriority(DMA1_Channel1_IRQn, 1, 0);
  HAL_NVIC_EnableIRQ(DMA1_Channel1_IRQn);
  /* DMA2_Channel1_IRQn interrupt configuration */
  HAL_NVIC_SetPriority(DMA2_Channel1_IRQn, 1, 0);
  HAL_NVIC_EnableIRQ(DMA2_Channel1_IRQn);
}

static void MX_GPIO_Init(void) {
  GPIO_InitTypeDef GPIO_InitStruct = {0};

  /* GPIO Ports Clock Enable */
  __HAL_RCC_GPIOF_CLK_ENABLE();
  __HAL_RCC_GPIOC_CLK_ENABLE();
  __HAL_RCC_GPIOA_CLK_ENABLE();
  __HAL_RCC_GPIOB_CLK_ENABLE();

  /*Configure GPIO pin Output Level */
  HAL_GPIO_WritePin(GPIOC, USB_Pul__Up_Pin | LED_HEARTBEAT_Pin, GPIO_PIN_RESET);

  /*Configure GPIO pins : USB_Pul__Up_Pin LED_HEARTBEAT_Pin */
  GPIO_InitStruct.Pin = USB_Pul__Up_Pin | LED_HEARTBEAT_Pin;
  GPIO_InitStruct.Mode = GPIO_MODE_OUTPUT_PP;
  GPIO_InitStruct.Pull = GPIO_NOPULL;
  GPIO_InitStruct.Speed = GPIO_SPEED_FREQ_LOW;
  HAL_GPIO_Init(GPIOC, &GPIO_InitStruct);

  /*Configure GPIO pin : PA8 */
  GPIO_InitStruct.Pin = GPIO_PIN_8;
  GPIO_InitStruct.Mode = GPIO_MODE_AF_PP;
  GPIO_InitStruct.Pull = GPIO_NOPULL;
  GPIO_InitStruct.Speed = GPIO_SPEED_FREQ_LOW;
  GPIO_InitStruct.Alternate = GPIO_AF0_MCO;
  HAL_GPIO_Init(GPIOA, &GPIO_InitStruct);

  /* USER CODE BEGIN MX_GPIO_Init_2 */
  /*Configure GPIO pins : C_OK_Pin BATT_FULL_Pin */
  GPIO_InitStruct.Pin = C_OK_Pin | BATT_FULL_Pin;
  GPIO_InitStruct.Mode = GPIO_MODE_INPUT;
  GPIO_InitStruct.Pull = GPIO_NOPULL;
  HAL_GPIO_Init(GPIOB, &GPIO_InitStruct);
  /* USER CODE END MX_GPIO_Init_2 */
}

/* USER CODE BEGIN 4 */

// --- USB COMMAND PROCESSING ---
// Handles commands from the BMS Dashboard sent over USB CDC
void Process_USB_Command(const char *cmd) {
  // FAN:AUTO — switch to automatic temperature-based control
  if (strcmp(cmd, "FAN:AUTO") == 0) {
    fan_auto_mode = 1;
    return;
  }

  // FAN:MANUAL — switch to manual dashboard control
  if (strcmp(cmd, "FAN:MANUAL") == 0) {
    fan_auto_mode = 0;
    return;
  }

  // FAN:SET:XX — set manual duty cycle (0-100%)
  if (strncmp(cmd, "FAN:SET:", 8) == 0) {
    int duty = atoi(cmd + 8);
    if (duty < 0)
      duty = 0;
    if (duty > 100)
      duty = 100;
    fan_manual_duty = (uint8_t)duty;
    if (!fan_auto_mode) {
      Fan_SetSpeed(fan_manual_duty);
    }
    return;
  }

  // BMS:CLEAR_FAULTS — write 0x7F to SYS_STAT to clear fault bits [6:0],
  // preserve bit 7
  if (strcmp(cmd, "BMS:CLEAR_FAULTS") == 0) {
    BQ_WriteReg(SYS_STAT, 0x7F);
    return;
  }

  // BMS:BOOT:PULSE — manually pulse PB4 to wake up the BMS IC
  if (strcmp(cmd, "BMS:BOOT:PULSE") == 0) {
    HAL_GPIO_WritePin(GPIOB, GPIO_PIN_4, GPIO_PIN_SET);
    HAL_Delay(10);
    HAL_GPIO_WritePin(GPIOB, GPIO_PIN_4, GPIO_PIN_RESET);
    return;
  }

  // BMS:BAL:OFF — disable all cell balancing
  if (strcmp(cmd, "BMS:BAL:OFF") == 0) {
    bal_enabled = 0;
    bal_alt_enabled = 0;
    Disable_Balancing_Output();
    return;
  }

  // BMS:BAL:ALT:ON — enable alternating even/odd cell balancing
  if (strcmp(cmd, "BMS:BAL:ALT:ON") == 0) {
    bal_enabled = 1;
    bal_alt_enabled = 1;
    bal_alt_phase = 0;
    bal_alt_last_toggle = HAL_GetTick();
    return;
  }

  // BMS:BAL:ALT:OFF — disable alternating cell balancing
  if (strcmp(cmd, "BMS:BAL:ALT:OFF") == 0) {
    bal_alt_enabled = 0;
    bal_enabled = 0;
    Disable_Balancing_Output();
    return;
  }

  // BMS:BAL:THRESH:XX — set balance threshold in mV (5-100)
  if (strncmp(cmd, "BMS:BAL:THRESH:", 15) == 0) {
    int thresh = atoi(cmd + 15);
    if (thresh >= 5 && thresh <= 100) {
      bal_threshold_mv = (uint16_t)thresh;
    }
    return;
  }

  // BMS:CHARGE:ON — enable charge mode (charge FET on, discharge FET off)
  if (strcmp(cmd, "BMS:CHARGE:ON") == 0) {
    charge_mode = 1;
    fets_off_requested = 0;
    thermal_shutdown = 0;
    return;
  }

  // BMS:CHARGE:OFF — disable charge mode (back to discharge mode)
  if (strcmp(cmd, "BMS:DISCHARGE:ON") == 0 ||
      strcmp(cmd, "BMS:CHARGE:OFF") == 0) {
    charge_mode = 0;
    fets_off_requested = 0;
    thermal_shutdown = 0;
    Disable_Balancing_Output();
    Set_SYS_CTRL2(
        SYS_CTRL2_FETS_OFF); // both FETs off until next loop sets correct mode
    return;
  }

  // BMS:FETS:OFF — request both FETs off until a new mode is commanded
  if (strcmp(cmd, "BMS:FETS:OFF") == 0) {
    fets_off_requested = 1;
    thermal_shutdown = 0;
    bal_enabled = 0;
    bal_alt_enabled = 0;
    Disable_Balancing_Output();
    Set_SYS_CTRL2(SYS_CTRL2_FETS_OFF);
    return;
  }

  // BMS:CHARGER:AUTO — switch charger status to auto (read PB10/PB11)
  if (strcmp(cmd, "BMS:CHARGER:AUTO") == 0) {
    charger_override_mode = 0;
    return;
  }

  // BMS:CHARGER:MANUAL — switch charger status to manual (GUI override)
  if (strcmp(cmd, "BMS:CHARGER:MANUAL") == 0) {
    charger_override_mode = 1;
    return;
  }

  // BMS:CHARGER:COK:0 / BMS:CHARGER:COK:1 — manually set C_OK state
  if (strncmp(cmd, "BMS:CHARGER:COK:", 16) == 0) {
    charger_override_c_ok = (cmd[16] == '1') ? 1 : 0;
    return;
  }

  // BMS:CHARGER:BATTFULL:0 / BMS:CHARGER:BATTFULL:1 — manually set BATT_FULL
  if (strncmp(cmd, "BMS:CHARGER:BATTFULL:", 21) == 0) {
    charger_override_batt_full = (cmd[21] == '1') ? 1 : 0;
    return;
  }
}

// --- FAN CONTROL FUNCTIONS ---

// Set fan speed: 0-100 percent
// At 100%: switch PB9 to GPIO output HIGH for solid ground path (clean tach
// signal) At 0%:   switch PB9 to GPIO output LOW (fan off) Otherwise: use TIM17
// PWM
void Fan_SetSpeed(uint8_t percent) {
  if (percent > 100)
    percent = 100;
  fan_duty = (uint16_t)((uint32_t)percent * FAN_PWM_MAX / 100);

  if (percent == 100) {
    // Bypass PWM — drive gate fully HIGH for clean ground path
    GPIO_InitTypeDef gpio = {0};
    gpio.Pin = FAN_EN_Pin;
    gpio.Mode = GPIO_MODE_OUTPUT_PP;
    gpio.Pull = GPIO_NOPULL;
    gpio.Speed = GPIO_SPEED_FREQ_LOW;
    HAL_GPIO_Init(FAN_EN_GPIO_Port, &gpio);
    HAL_GPIO_WritePin(FAN_EN_GPIO_Port, FAN_EN_Pin, GPIO_PIN_SET);
  } else if (percent == 0) {
    // Drive gate fully LOW — fan off
    GPIO_InitTypeDef gpio = {0};
    gpio.Pin = FAN_EN_Pin;
    gpio.Mode = GPIO_MODE_OUTPUT_PP;
    gpio.Pull = GPIO_NOPULL;
    gpio.Speed = GPIO_SPEED_FREQ_LOW;
    HAL_GPIO_Init(FAN_EN_GPIO_Port, &gpio);
    HAL_GPIO_WritePin(FAN_EN_GPIO_Port, FAN_EN_Pin, GPIO_PIN_RESET);
  } else {
    // Restore PWM alternate function for variable speed
    GPIO_InitTypeDef gpio = {0};
    gpio.Pin = FAN_EN_Pin;
    gpio.Mode = GPIO_MODE_AF_PP;
    gpio.Pull = GPIO_NOPULL;
    gpio.Speed = GPIO_SPEED_FREQ_LOW;
    gpio.Alternate = GPIO_AF1_TIM17;
    HAL_GPIO_Init(FAN_EN_GPIO_Port, &gpio);
    __HAL_TIM_SET_COMPARE(&htim17, TIM_CHANNEL_1, fan_duty);
  }
}

// Get current fan RPM with moving average (call periodically from main loop)
uint32_t Fan_GetRPM(void) {
  // Check for timeout (fan stopped or disconnected)
  if ((HAL_GetTick() - fan_tach_last_tick) > FAN_RPM_TIMEOUT_MS) {
    fan_rpm_filled = 0;
    fan_rpm_idx = 0;
    return 0;
  }

  if (fan_tach_period == 0)
    return 0;

  // RPM = (60 * timer_freq) / (period_ticks * pulses_per_rev)
  uint32_t raw_rpm =
      (60UL * FAN_TACH_TIMER_FREQ) / (fan_tach_period * FAN_PULSES_PER_REV);

  // Reject noise spikes above max plausible RPM
  if (raw_rpm > FAN_RPM_MAX)
    return 0;

  // Store in moving average buffer
  fan_rpm_buf[fan_rpm_idx] = raw_rpm;
  fan_rpm_idx = (fan_rpm_idx + 1) % FAN_RPM_AVG_SAMPLES;
  if (!fan_rpm_filled && fan_rpm_idx == 0)
    fan_rpm_filled = 1;

  // Compute average over available samples
  uint8_t count = fan_rpm_filled ? FAN_RPM_AVG_SAMPLES : fan_rpm_idx;
  if (count == 0)
    return raw_rpm;

  uint32_t sum = 0;
  for (uint8_t i = 0; i < count; i++) {
    sum += fan_rpm_buf[i];
  }
  return sum / count;
}

// HAL Timer overflow callback — counts overflows for low-RPM measurement
void HAL_TIM_PeriodElapsedCallback(TIM_HandleTypeDef *htim) {
  if (htim->Instance == TIM3) {
    fan_tach_overflow_count++;
  }
}

// HAL Input Capture callback — called by HAL from TIM3 ISR
void HAL_TIM_IC_CaptureCallback(TIM_HandleTypeDef *htim) {
  if (htim->Instance == TIM3 && htim->Channel == HAL_TIM_ACTIVE_CHANNEL_1) {
    uint32_t capture = HAL_TIM_ReadCapturedValue(htim, TIM_CHANNEL_1);

    // Calculate period including overflow counts for low-RPM accuracy
    fan_tach_period =
        (fan_tach_overflow_count * 65536UL) + capture - fan_tach_capture_last;

    fan_tach_overflow_count = 0;
    fan_tach_capture_last = capture;
    fan_tach_new_data = 1;
    fan_tach_last_tick = HAL_GetTick();
  }
}

/* USER CODE END 4 */

void Error_Handler(void) {
  __disable_irq();
  while (1) {
  }
}
#ifdef USE_FULL_ASSERT
/**
 * @brief  Reports the name of the source file and the source line number
 *         where the assert_param error has occurred.
 * @param  file: pointer to the source file name
 * @param  line: assert_param error line source number
 * @retval None
 */
void assert_failed(uint8_t *file, uint32_t line) {
  /* USER CODE BEGIN 6 */
  /* User can add his own implementation to report the file name and line
     number, ex: printf("Wrong parameters value: file %s on line %d\r\n", file,
     line) */
  /* USER CODE END 6 */
}
#endif /* USE_FULL_ASSERT */
